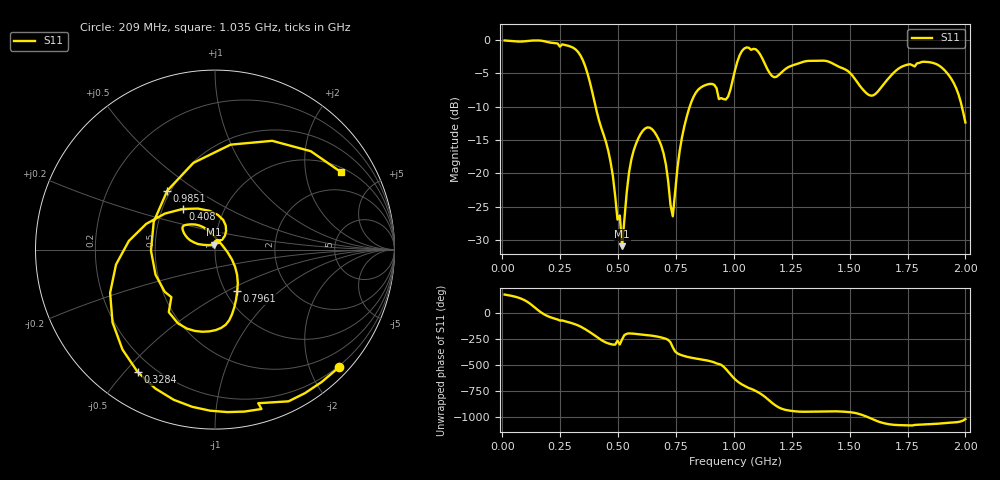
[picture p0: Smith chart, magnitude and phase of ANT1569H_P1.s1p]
!Created with skrf (http://scikit-rf.org).
# Hz S RI R 50.0
!freq ReS11 ImS11
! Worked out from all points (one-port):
!   201 points, 10 MHz to 2 GHz, reference 50 ohm
!   lowest |S11| = -30.9 dB at 517.5 MHz (marker M1), VSWR 1.06, Z = 49.2 + j2.69 ohm
!   |S11| at or under -10 dB: 402.9 MHz to 809.7 MHz (406.9 MHz wide, 67.1 % of centre); 1.985 GHz to end of sweep
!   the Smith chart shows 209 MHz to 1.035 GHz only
!   S11 on the Smith chart (normalised r, x): 209 MHz: 0.18, -2.49; 328.4 MHz: 0.14, -0.54; 408 MHz: 0.63, +0.31; 796 MHz: 1.13, -0.57; 985.1 MHz: 0.48, +0.38; 1.035 GHz: 1.16, +3.13
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1e7  -0.9862 0.0743
7.965e7  -0.718 0.6532
1.1945e8  0.0247 0.9854
1.5925e8  0.9448 0.291
2.09e8  0.6898 -0.6564
2.5875e8  0.2589 -0.8881
3.284e8  -0.4316 -0.681
4.08e8  -0.1802 0.2264
5.075e8  0.0271 0.0398
5.1745e8  -0.00759 0.0273
5.5725e8  -0.1195 0.0412
6.07e8  -0.179 0.1066
6.866e8  -0.0881 0.1346
7.3635e8  0.042 0.0223
7.5625e8  0.094 -0.0544
7.9605e8  0.1241 -0.2321
9.1545e8  -0.2061 -0.4111
9.851e8  -0.2659 0.3283
1.005e9  0.0869 0.5848
1.03485e9  0.7011 0.4325
1.0846e9  0.8033 -0.2958
1.1244e9  0.2287 -0.6798
1.17415e9  -0.4965 -0.1686
1.25375e9  -0.4604 0.4497
1.5025e9  -0.3187 0.4635
1.75125e9  0.6518 -0.0248
1.8806e9  0.6316 0.1541
2e9  0.1265 0.2041
